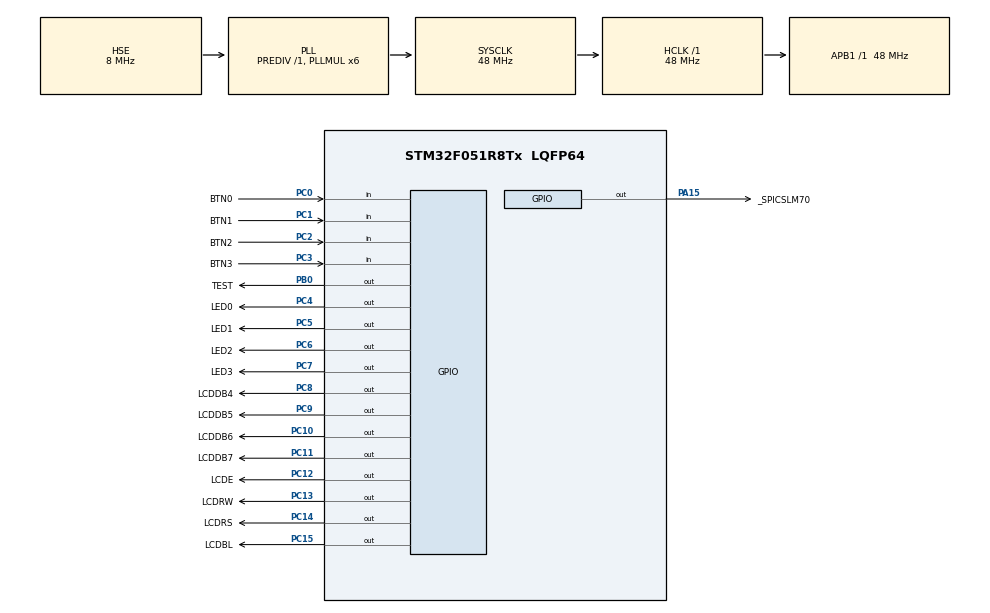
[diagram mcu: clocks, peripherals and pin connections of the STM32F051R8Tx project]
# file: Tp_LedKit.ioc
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Mcu.Family=STM32F0
Mcu.Name=STM32F051R8Tx
Mcu.Package=LQFP64
PA13.Mode=Serial_Wire
PA13.Signal=SYS_SWDIO
PA14.Mode=Serial_Wire
PA14.Signal=SYS_SWCLK
PA15.GPIO_Label=_SPICSLM70
PA15.PinState=GPIO_PIN_SET
PA15.Signal=GPIO_Output
PA5.GPIO_Label=SPISCK
PA5.Signal=SPI1_SCK
PA6.GPIO_Label=SPIMISO
PA6.Signal=SPI1_MISO
PB0.GPIO_Label=TEST
PB0.Signal=GPIO_Output
PC0.GPIO_Label=BTN0
PC0.Signal=GPIO_Input
PC1.GPIO_Label=BTN1
PC1.Signal=GPIO_Input
PC10.GPIO_Label=LCDDB6
PC10.Signal=GPIO_Output
PC11.GPIO_Label=LCDDB7
PC11.Signal=GPIO_Output
PC12.GPIO_Label=LCDE
PC12.Signal=GPIO_Output
PC13.GPIO_Label=LCDRW
PC13.Signal=GPIO_Output
PC14-OSC32_IN.GPIO_Label=LCDRS
PC14-OSC32_IN.Signal=GPIO_Output
PC15-OSC32_OUT.GPIO_Label=LCDBL
PC15-OSC32_OUT.Signal=GPIO_Output
PC2.GPIO_Label=BTN2
PC2.Signal=GPIO_Input
PC3.GPIO_Label=BTN3
PC3.Signal=GPIO_Input
PC4.GPIO_Label=LED0
PC4.PinState=GPIO_PIN_SET
PC4.Signal=GPIO_Output
PC5.GPIO_Label=LED1
PC5.PinState=GPIO_PIN_SET
PC5.Signal=GPIO_Output
PC6.GPIO_Label=LED2
PC6.PinState=GPIO_PIN_SET
PC6.Signal=GPIO_Output
PC7.GPIO_Label=LED3
PC7.PinState=GPIO_PIN_SET
PC7.Signal=GPIO_Output
PC8.GPIO_Label=LCDDB4
PC8.Signal=GPIO_Output
PC9.GPIO_Label=LCDDB5
PC9.Signal=GPIO_Output
PF0-OSC_IN.GPIO_Label=OSCIN
PF0-OSC_IN.Mode=HSE-External-Oscillator
PF0-OSC_IN.Signal=RCC_OSC_IN
PF1-OSC_OUT.GPIO_Label=OSCOUT
PF1-OSC_OUT.Mode=HSE-External-Oscillator
PF1-OSC_OUT.Signal=RCC_OSC_OUT
PF6.Signal=I2C2_SCL
PF7.Signal=I2C2_SDA
ProjectManager.HeapSize=0x200
ProjectManager.StackSize=0x400
ProjectManager.TargetToolchain=MDK-ARM V5
RCC.AHBFreq_Value=48000000
RCC.APB1Freq_Value=48000000
RCC.APB1TimFreq_Value=48000000
RCC.EnbaleCSS=true
RCC.HCLKFreq_Value=48000000
RCC.PLLMUL=RCC_PLL_MUL6
RCC.PLLSourceVirtual=RCC_PLLSOURCE_HSE
RCC.SYSCLKFreq_VALUE=48000000
RCC.SYSCLKSource=RCC_SYSCLKSOURCE_PLLCLK
board=test01_blink

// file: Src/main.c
/* USER CODE BEGIN Header */
/**
  ******************************************************************************
  * @file           : main.c
  * @brief          : Main program body
  ******************************************************************************
  * Canevas pour le TP microcontr?leur LedKit
  * Cible : Kit ARM Cortex M0, carte 17400
  *
  * Auteur /date : SCA / 18.12.2020
  *
  * Etudiant(s) :
  *
  ******************************************************************************
  */
/* USER CODE END Header */
#include "main.h"
#include "gpio.h"

/* USER CODE BEGIN Includes */

#include "17400.h"
#include "stm32delays.h"
#include "stm32driverlcd.h"
#include "select_mode.h"

/* USER CODE END Includes */

/* USER CODE BEGIN PD */
#define MAIN_DELAY    25

/* USER CODE END PD */

void SystemClock_Config(void);

/* USER CODE BEGIN 0 */
void SystemClock_Config(void);
void GestMode(int *mod);		// Pour modifé le mod
int GestDuration(int byV_Time, int mod);				// Pour les blink
void Leds_off(void);														// Pour etaindre les leds
void Leds_on(void); 															// Pour allumé les leds
void chenillard_GD(int byV_Time);
void chenillard_DG(int byV_Time);
void blink_led(int byV_Time);

/* USER CODE END 0 */

int main(void)
{
  /* USER CODE BEGIN 1 */

	//variables locales
	uint8_t i;

	// what state is the machine
	int mod = 1;
	int mod_P = 1;

	//Chenillard
	int byV_Time = 200;
	int byV_Time_P  = 200;

  /* USER CODE END 1 */

  /* MCU Configuration--------------------------------------------------------*/

  /* Reset of all peripherals, Initializes the Flash interface and the Systick. */
  HAL_Init();

  /* Configure the system clock */
  SystemClock_Config();

  /* Initialize all configured peripherals */
  MX_GPIO_Init();
  /* USER CODE BEGIN 2 */

	//Init LCD
	lcd_init();
	printf_lcd("TP LedKit 2025");
	lcd_gotoxy(1,2);
	printf_lcd("Luis & Henri");
	lcd_bl_on();

	//selon donn?e : durant 4 sec ? l'init, chenillard D0>D3 250ms durant 4 s
	for(i=0 ; i<4 ; i++)
	{
		HAL_GPIO_WritePin(LED0_PORT, LED0_BIT, GPIO_PIN_RESET);
		delay_ms(250);
		HAL_GPIO_WritePin(LED0_PORT, LED0_BIT, GPIO_PIN_SET);
		HAL_GPIO_WritePin(LED1_PORT, LED1_BIT, GPIO_PIN_RESET);
		delay_ms(250);
		HAL_GPIO_WritePin(LED1_PORT, LED1_BIT, GPIO_PIN_SET);
		HAL_GPIO_WritePin(LED2_PORT, LED2_BIT, GPIO_PIN_RESET);
		delay_ms(250);
		HAL_GPIO_WritePin(LED2_PORT, LED2_BIT, GPIO_PIN_SET);
		HAL_GPIO_WritePin(LED3_PORT, LED3_BIT, GPIO_PIN_RESET);
		delay_ms(250);
		HAL_GPIO_WritePin(LED3_PORT, LED3_BIT, GPIO_PIN_SET);
	}

	//affichage initial

	//Init LCD
	lcd_init();
	lcd_clearLine(2);
  lcd_gotoxy(1, 2);
  printf_lcd("Duree : --");
  /* USER CODE END 2 */

  /* Infinite loop */
  while (1)
  {

    /* USER CODE BEGIN 3 */

	 	GestMode(&mod);
		byV_Time = GestDuration(byV_Time,mod);

	  // Verifier s'il y un changement de mode ou de temps
    if ((mod != mod_P) || (byV_Time != byV_Time_P))
    {
			/************* Si nous passons aux modes 3 ou 4 **********/
			if ((mod_P == 5 && (mod == 4 || mod == 3)) || (mod_P == 3 && mod == 4))
      {
        if (byV_Time > 800)
        {
          byV_Time = 800;
        }
        else if (byV_Time < 200)
        {
          byV_Time = 200;
        }
        else if (byV_Time % 50 != 0)
        {
          byV_Time = (byV_Time / 50) * 50;
        }
      }
		  /*************** Si nous passons au mode 5 ************/
      else if (mod_P == 4 && mod == 5)
      {
        if (byV_Time < 100)
        {
          byV_Time = 100;
        }
        else if (byV_Time % 100 != 0)
        {
          byV_Time = (byV_Time / 100) * 100;
        }
      }
      mod_P = mod;
      byV_Time_P = byV_Time;
	  }

		HAL_GPIO_WritePin(GPIOB, TEST_Pin, GPIO_PIN_SET);
		// On nettoie le LCD
		lcd_clearLine(2);
    lcd_gotoxy(1, 2);
		if(mod < 3)
		{
			printf_lcd("Duree : --");
		}
		else
		{
			printf_lcd("Duree : %d [ms]",byV_Time);
		}
		// mise à jour du LCD
		lcd_clearLine(1);
    lcd_gotoxy(0, 1);
		HAL_GPIO_WritePin(GPIOB, TEST_Pin, GPIO_PIN_RESET);

		/*** GESTION LCD EN FONCTION DU MODE ***/

		switch(mod)
		{
			case 1:  // mode 1
				printf_lcd("Mode 1 : OFF");
				Leds_off();
			break;

			case 2 : // mode 2
				printf_lcd("Mode 2 : ON ");
				Leds_on();
			break;

			case 3 : // mode 3
				printf_lcd("Mode 3 : CHENI G>D");
				chenillard_GD(byV_Time);
			break;

			case 4 : // mode 4
				printf_lcd("Mode 4 : CHENI G<D");
				chenillard_DG(byV_Time);
			break;

			case 5 : // mode 5
			 	printf_lcd("Mode 5 : CLI_LED");
				blink_led(byV_Time);
			break;
		}

		//HAL_GPIO_WritePin(GPIOB, TEST_Pin, GPIO_PIN_SET);
		//*** DELAI GLOBAL DANS LA BOUCLE (LA SEULE ATTENTE) ***
		delay_ms(MAIN_DELAY);
		//HAL_GPIO_WritePin(GPIOB, TEST_Pin, GPIO_PIN_RESET);
  }
  /* USER CODE END 3 */
}

void SystemClock_Config(void)
{
  RCC_OscInitTypeDef RCC_OscInitStruct = {0};
  RCC_ClkInitTypeDef RCC_ClkInitStruct = {0};

  /** Initializes the RCC Oscillators according to the specified parameters
  * in the RCC_OscInitTypeDef structure.
  */
  RCC_OscInitStruct.OscillatorType = RCC_OSCILLATORTYPE_HSE;
  RCC_OscInitStruct.HSEState = RCC_HSE_ON;
  RCC_OscInitStruct.PLL.PLLState = RCC_PLL_ON;
  RCC_OscInitStruct.PLL.PLLSource = RCC_PLLSOURCE_HSE;
  RCC_OscInitStruct.PLL.PLLMUL = RCC_PLL_MUL6;
  RCC_OscInitStruct.PLL.PREDIV = RCC_PREDIV_DIV1;
  if (HAL_RCC_OscConfig(&RCC_OscInitStruct) != HAL_OK)
  {
    Error_Handler();
  }
  /** Initializes the CPU, AHB and APB buses clocks
  */
  RCC_ClkInitStruct.ClockType = RCC_CLOCKTYPE_HCLK|RCC_CLOCKTYPE_SYSCLK
                              |RCC_CLOCKTYPE_PCLK1;
  RCC_ClkInitStruct.SYSCLKSource = RCC_SYSCLKSOURCE_PLLCLK;
  RCC_ClkInitStruct.AHBCLKDivider = RCC_SYSCLK_DIV1;
  RCC_ClkInitStruct.APB1CLKDivider = RCC_HCLK_DIV1;

  if (HAL_RCC_ClockConfig(&RCC_ClkInitStruct, FLASH_LATENCY_1) != HAL_OK)
  {
    Error_Handler();
  }
  /** Enables the Clock Security System
  */
  HAL_RCC_EnableCSS();
}

void Error_Handler(void)
{
}

/************************ (C) COPYRIGHT STMicroelectronics *****END OF FILE****/
